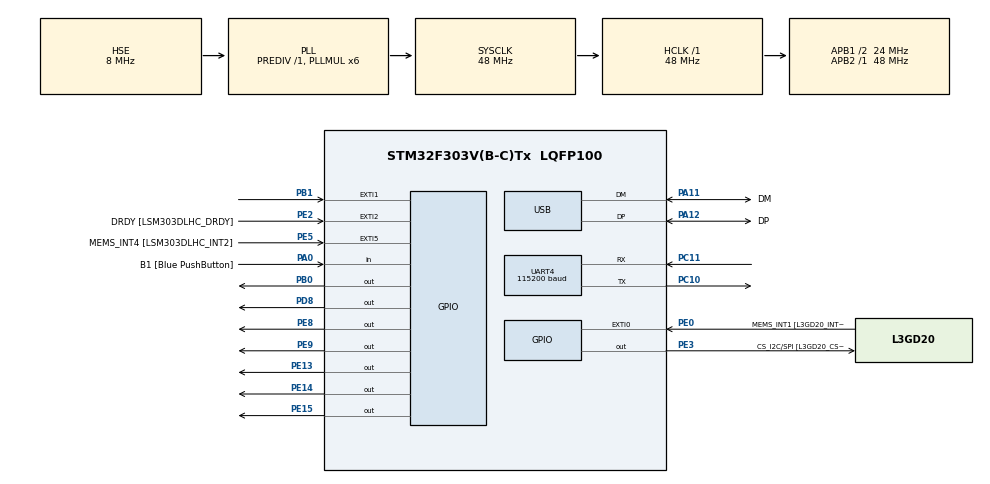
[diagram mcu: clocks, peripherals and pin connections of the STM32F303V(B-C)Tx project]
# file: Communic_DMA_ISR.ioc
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Dma.Request0=UART4_RX
Dma.Request1=UART4_TX
Dma.UART4_RX.0.Direction=DMA_PERIPH_TO_MEMORY
Dma.UART4_RX.0.Instance=DMA2_Channel3
Dma.UART4_RX.0.MemDataAlignment=DMA_MDATAALIGN_BYTE
Dma.UART4_RX.0.MemInc=DMA_MINC_ENABLE
Dma.UART4_RX.0.Mode=DMA_NORMAL
Dma.UART4_RX.0.PeriphDataAlignment=DMA_PDATAALIGN_BYTE
Dma.UART4_RX.0.PeriphInc=DMA_PINC_DISABLE
Dma.UART4_RX.0.Priority=DMA_PRIORITY_HIGH
Dma.UART4_TX.1.Direction=DMA_MEMORY_TO_PERIPH
Dma.UART4_TX.1.Instance=DMA2_Channel5
Dma.UART4_TX.1.MemDataAlignment=DMA_MDATAALIGN_BYTE
Dma.UART4_TX.1.MemInc=DMA_MINC_ENABLE
Dma.UART4_TX.1.Mode=DMA_NORMAL
Dma.UART4_TX.1.PeriphDataAlignment=DMA_PDATAALIGN_BYTE
Dma.UART4_TX.1.PeriphInc=DMA_PINC_DISABLE
Dma.UART4_TX.1.Priority=DMA_PRIORITY_HIGH
Mcu.Family=STM32F3
Mcu.Name=STM32F303V(B-C)Tx
Mcu.Package=LQFP100
NVIC.DMA2_Channel3_IRQn=true\:0\:0\:false\:false\:true\:false\:true\:true
NVIC.DMA2_Channel5_IRQn=true\:0\:0\:false\:false\:true\:false\:true\:true
NVIC.EXTI1_IRQn=true\:0\:0\:false\:false\:true\:true\:true\:true
NVIC.PriorityGroup=NVIC_PRIORITYGROUP_0
NVIC.UART4_IRQn=true\:0\:0\:false\:false\:true\:true\:true\:true
PA0.GPIO_Label=B1 [Blue PushButton]
PA0.Signal=GPIO_Input
PA11.GPIO_Label=DM
PA11.Mode=Device
PA11.Signal=USB_DM
PA12.GPIO_Label=DP
PA12.Mode=Device
PA12.Signal=USB_DP
PA13.GPIO_Label=SWDIO
PA13.Mode=Serial_Wire
PA13.Signal=SYS_JTMS-SWDIO
PA14.GPIO_Label=SWCLK
PA14.Mode=Serial_Wire
PA14.Signal=SYS_JTCK-SWCLK
PA5.GPIO_Label=SPI1_SCK [L3GD20_SCL/SPC]
PA5.Signal=SPI1_SCK
PA6.GPIO_Label=SPI1_MISO [L3GD20_SA0/SDO]
PA6.Signal=SPI1_MISO
PA7.GPIO_Label=SPI1_MISO [L3GD20_SDA/SDI/SDO]
PA7.Signal=SPI1_MOSI
PB0.Signal=GPIO_Output
PB1.Signal=GPXTI1
PB3.GPIO_Label=SWO
PB3.Signal=SYS_JTDO-TRACESWO
PB6.GPIO_Label=I2C1_SCL [LSM303DLHC_SCL]
PB6.GPIO_Pu=GPIO_PULLUP
PB6.Signal=I2C1_SCL
PB7.GPIO_Label=I2C1_SDA [LSM303DLHC_SDA]
PB7.GPIO_Pu=GPIO_PULLUP
PB7.Signal=I2C1_SDA
PC10.Mode=Asynchronous
PC10.Signal=UART4_TX
PC11.Mode=Asynchronous
PC11.Signal=UART4_RX
PC14-OSC32_IN.GPIO_Label=OSC32_IN
PC14-OSC32_IN.Signal=RCC_OSC32_IN
PC15-OSC32_OUT.GPIO_Label=OSC32_OUT
PC15-OSC32_OUT.Signal=RCC_OSC32_OUT
PD8.Signal=GPIO_Output
PE0.GPIO_Label=MEMS_INT1 [L3GD20_INT1]
PE0.GPIO_ModeDefaultEXTI=GPIO_MODE_EVT_RISING
PE0.Signal=GPXTI0
PE13.Signal=GPIO_Output
PE14.Signal=GPIO_Output
PE15.Signal=GPIO_Output
PE2.GPIO_Label=DRDY [LSM303DLHC_DRDY]
PE2.GPIO_ModeDefaultEXTI=GPIO_MODE_EVT_RISING
PE2.Signal=GPXTI2
PE3.GPIO_Label=CS_I2C/SPI [L3GD20_CS_I2C/SPI]
PE3.Signal=GPIO_Output
PE5.GPIO_Label=MEMS_INT4 [LSM303DLHC_INT2]
PE5.GPIO_ModeDefaultEXTI=GPIO_MODE_EVT_RISING
PE5.Signal=GPXTI5
PE8.Signal=GPIO_Output
PE9.Signal=GPIO_Output
PF0-OSC_IN.GPIO_Label=OSC_IN
PF0-OSC_IN.Mode=HSE-External-Clock-Source
PF0-OSC_IN.Signal=RCC_OSC_IN
PF1-OSC_OUT.GPIO_Label=OSC_OUT
PF1-OSC_OUT.Signal=RCC_OSC_OUT
ProjectManager.HeapSize=0x200
ProjectManager.StackSize=0x400
ProjectManager.TargetToolchain=STM32CubeIDE
RCC.AHBFreq_Value=48000000
RCC.APB1CLKDivider=RCC_HCLK_DIV2
RCC.APB1Freq_Value=24000000
RCC.APB1TimFreq_Value=48000000
RCC.APB2Freq_Value=48000000
RCC.APB2TimFreq_Value=48000000
RCC.CortexFreq_Value=48000000
RCC.HCLKFreq_Value=48000000
RCC.HSE_VALUE=8000000
RCC.HSI_VALUE=8000000
RCC.LSE_VALUE=32768
RCC.PLLMUL=RCC_PLL_MUL6
RCC.SYSCLKFreq_VALUE=48000000
RCC.SYSCLKSourceVirtual=RCC_SYSCLKSOURCE_PLLCLK
RCC.USBFreq_Value=48000000
UART4.BaudRate=115200
UART4.OverrunDisableParam=UART_ADVFEATURE_OVERRUN_ENABLE
UART4.WordLength=WORDLENGTH_8B
board=STM32F3DISCOVERY

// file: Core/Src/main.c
/* USER CODE BEGIN Header */
/**
  ******************************************************************************
  * @file           : main.c
  * @brief          : Main program body
  ******************************************************************************
  * @attention
  *
  * Copyright (c) 2025 STMicroelectronics.
  * All rights reserved.
  *
  * This software is licensed under terms that can be found in the LICENSE file
  * in the root directory of this software component.
  * If no LICENSE file comes with this software, it is provided AS-IS.
  *
  ******************************************************************************
  */
/* USER CODE END Header */
#include "main.h"

/* USER CODE BEGIN Includes */
#include "arm_fft.h"

/* USER CODE END Includes */

/* USER CODE BEGIN PD */
#define N_FINESTRE 105
#define N_CAMPIONI 128
#define LED_1 GPIO_PIN_9
#define LED_2 GPIO_PIN_8
#define LED_3 GPIO_PIN_15
#define LED_4 GPIO_PIN_14
#define LED_5 GPIO_PIN_13
#define EMB_LEDS GPIOE
#define COM_PINS GPIOB
#define REQ GPIO_PIN_0
#define ACK GPIO_PIN_1

/* USER CODE END PD */

UART_HandleTypeDef huart4;
DMA_HandleTypeDef hdma_uart4_rx;
DMA_HandleTypeDef hdma_uart4_tx;

PCD_HandleTypeDef hpcd_USB_FS;

void SystemClock_Config(void);
static void MX_GPIO_Init(void);
static void MX_DMA_Init(void);
static void MX_USB_PCD_Init(void);
static void MX_UART4_Init(void);

/* USER CODE BEGIN 0 */
  uint8_t signal[N_CAMPIONI*N_FINESTRE];
  uint8_t metadata[8];
  int32_t massimo = 0x00000000;
  int32_t minimo = 0x00000000;
  uint8_t indici[N_CAMPIONI];
  volatile uint8_t trasmissione_completata = 1;
  volatile uint8_t metadati_ricevuti = 0;
  volatile uint8_t dati_ricevuti = 0;
  volatile uint8_t fine = 0;
  volatile uint8_t finestra_corrente = 0;
  volatile uint8_t finestra_calcolata = 0;
/* USER CODE END 0 */

int main(void)
{

  /* MCU Configuration--------------------------------------------------------*/

  /* Reset of all peripherals, Initializes the Flash interface and the Systick. */
  HAL_Init();

  /* Configure the system clock */
  SystemClock_Config();

  /* Initialize all configured peripherals */
  MX_GPIO_Init();
  MX_DMA_Init();
  MX_USB_PCD_Init();
  MX_UART4_Init();
  /* USER CODE BEGIN 2 */

  // LEGENDA PIN:
  // GPIOC10 -> UART TX
  // GPIOC11 -> UART RX
  // GPIOB0  -> REQ
  // GPIOB1  -> ACK  -> scatena interrupt
  // GPIOE9  -> LED 1 Rosso
  // GPIOE8  -> LED 2 Blue
  // GPIOE15 -> LED 3 Green
  // GPIOE14 -> Led 4 Orange
  // GPIOE13 -> Led 5 Red

  HAL_UART_Receive_DMA(&huart4, metadata, 8);
  while(metadati_ricevuti == 0){
  }
  HAL_UART_Receive_DMA(&huart4, signal, N_FINESTRE*N_CAMPIONI);
  while(dati_ricevuti == 0){
  }

  // calcolo massimo e minimo
  massimo = (int32_t)(metadata[0] | metadata[1]<<8 | metadata[2]<<16 | metadata[3]<<24);
  minimo = (int32_t)(metadata[4] | metadata[5]<<8 | metadata[6]<<16 | metadata[7]<<24);

  for(int i=0; i<N_FINESTRE; i++){
	  HAL_GPIO_WritePin(EMB_LEDS, LED_3, GPIO_PIN_SET); //inizio elaborazione finestra i-esima

	  // CALCOLI FFT
	  Complesso x[N_CAMPIONI];
	  Complesso X[N_CAMPIONI];
	  float magnitude[N_CAMPIONI];
	  for(int j=0; j<N_CAMPIONI; j++){
		  x[j].re = ((float)signal[i*N_CAMPIONI + j]) / 255.0f * (massimo - minimo) + minimo;
		  x[j].im = 0.0f;
	  }
	  arm_fft(x,X,N_CAMPIONI);
	  fft_to_spectrogram(X, magnitude, N_CAMPIONI, -65.0f);	// [0,1]
	  for(int l=0; l<N_CAMPIONI; l++){
		  signal[i*N_CAMPIONI+l] = (uint8_t)(magnitude[l]*255);
	  }
	  finestra_calcolata++;
	  if(trasmissione_completata == 1){
		  HAL_GPIO_WritePin(COM_PINS, REQ, GPIO_PIN_SET); // alzo la richiesta
		  trasmissione_completata = 0;
	  }
	  HAL_GPIO_WritePin(EMB_LEDS, LED_3, GPIO_PIN_RESET); //fine elaborazione finestra i-esima
//	  HAL_Delay(1000);
  }
  fine = 1;

//   DATA READY CAUSA SUL MASTER UN'INTERRUZIONE CHE TRIGGERA IL SEGNALE ACK E FA IN MODO CHE LA COMUNICAZIONE SIA
//   SINCRONA E ORDINATA

  /* USER CODE END 2 */

  /* Infinite loop */
  while (1)
  {

    /* USER CODE BEGIN 3 */
	  HAL_GPIO_WritePin(EMB_LEDS, LED_5, GPIO_PIN_SET);
	  HAL_Delay(100);
	  HAL_GPIO_WritePin(EMB_LEDS, LED_5, GPIO_PIN_RESET);
	  HAL_Delay(100);
  }
  /* USER CODE END 3 */
}

void SystemClock_Config(void)
{
  RCC_OscInitTypeDef RCC_OscInitStruct = {0};
  RCC_ClkInitTypeDef RCC_ClkInitStruct = {0};
  RCC_PeriphCLKInitTypeDef PeriphClkInit = {0};

  /** Initializes the RCC Oscillators according to the specified parameters
  * in the RCC_OscInitTypeDef structure.
  */
  RCC_OscInitStruct.OscillatorType = RCC_OSCILLATORTYPE_HSE;
  RCC_OscInitStruct.HSEState = RCC_HSE_BYPASS;
  RCC_OscInitStruct.HSEPredivValue = RCC_HSE_PREDIV_DIV1;
  RCC_OscInitStruct.HSIState = RCC_HSI_ON;
  RCC_OscInitStruct.PLL.PLLState = RCC_PLL_ON;
  RCC_OscInitStruct.PLL.PLLSource = RCC_PLLSOURCE_HSE;
  RCC_OscInitStruct.PLL.PLLMUL = RCC_PLL_MUL6;
  if (HAL_RCC_OscConfig(&RCC_OscInitStruct) != HAL_OK)
  {
    Error_Handler();
  }

  /** Initializes the CPU, AHB and APB buses clocks
  */
  RCC_ClkInitStruct.ClockType = RCC_CLOCKTYPE_HCLK|RCC_CLOCKTYPE_SYSCLK
                              |RCC_CLOCKTYPE_PCLK1|RCC_CLOCKTYPE_PCLK2;
  RCC_ClkInitStruct.SYSCLKSource = RCC_SYSCLKSOURCE_PLLCLK;
  RCC_ClkInitStruct.AHBCLKDivider = RCC_SYSCLK_DIV1;
  RCC_ClkInitStruct.APB1CLKDivider = RCC_HCLK_DIV2;
  RCC_ClkInitStruct.APB2CLKDivider = RCC_HCLK_DIV1;

  if (HAL_RCC_ClockConfig(&RCC_ClkInitStruct, FLASH_LATENCY_1) != HAL_OK)
  {
    Error_Handler();
  }
  PeriphClkInit.PeriphClockSelection = RCC_PERIPHCLK_USB|RCC_PERIPHCLK_UART4;
  PeriphClkInit.Uart4ClockSelection = RCC_UART4CLKSOURCE_PCLK1;
  PeriphClkInit.USBClockSelection = RCC_USBCLKSOURCE_PLL;
  if (HAL_RCCEx_PeriphCLKConfig(&PeriphClkInit) != HAL_OK)
  {
    Error_Handler();
  }
}

static void MX_UART4_Init(void)
{

  huart4.Instance = UART4;
  huart4.Init.BaudRate = 115200;
  huart4.Init.WordLength = UART_WORDLENGTH_8B;
  huart4.Init.StopBits = UART_STOPBITS_1;
  huart4.Init.Parity = UART_PARITY_NONE;
  huart4.Init.Mode = UART_MODE_TX_RX;
  huart4.Init.HwFlowCtl = UART_HWCONTROL_NONE;
  huart4.Init.OverSampling = UART_OVERSAMPLING_16;
  huart4.Init.OneBitSampling = UART_ONE_BIT_SAMPLE_DISABLE;
  huart4.AdvancedInit.AdvFeatureInit = UART_ADVFEATURE_NO_INIT;
  if (HAL_UART_Init(&huart4) != HAL_OK)
  {
    Error_Handler();
  }

}

static void MX_USB_PCD_Init(void)
{

  hpcd_USB_FS.Instance = USB;
  hpcd_USB_FS.Init.dev_endpoints = 8;
  hpcd_USB_FS.Init.speed = PCD_SPEED_FULL;
  hpcd_USB_FS.Init.phy_itface = PCD_PHY_EMBEDDED;
  hpcd_USB_FS.Init.low_power_enable = DISABLE;
  hpcd_USB_FS.Init.battery_charging_enable = DISABLE;
  if (HAL_PCD_Init(&hpcd_USB_FS) != HAL_OK)
  {
    Error_Handler();
  }

}

static void MX_DMA_Init(void)
{

  /* DMA controller clock enable */
  __HAL_RCC_DMA2_CLK_ENABLE();

  /* DMA interrupt init */
  /* DMA2_Channel3_IRQn interrupt configuration */
  HAL_NVIC_SetPriority(DMA2_Channel3_IRQn, 0, 0);
  HAL_NVIC_EnableIRQ(DMA2_Channel3_IRQn);
  /* DMA2_Channel5_IRQn interrupt configuration */
  HAL_NVIC_SetPriority(DMA2_Channel5_IRQn, 0, 0);
  HAL_NVIC_EnableIRQ(DMA2_Channel5_IRQn);

}

static void MX_GPIO_Init(void)
{
  GPIO_InitTypeDef GPIO_InitStruct = {0};

  /* GPIO Ports Clock Enable */
  __HAL_RCC_GPIOE_CLK_ENABLE();
  __HAL_RCC_GPIOC_CLK_ENABLE();
  __HAL_RCC_GPIOF_CLK_ENABLE();
  __HAL_RCC_GPIOA_CLK_ENABLE();
  __HAL_RCC_GPIOB_CLK_ENABLE();
  __HAL_RCC_GPIOD_CLK_ENABLE();

  /*Configure GPIO pin Output Level */
  HAL_GPIO_WritePin(GPIOE, CS_I2C_SPI_Pin|GPIO_PIN_8|GPIO_PIN_9|GPIO_PIN_13
                          |GPIO_PIN_14|GPIO_PIN_15, GPIO_PIN_RESET);

  /*Configure GPIO pin Output Level */
  HAL_GPIO_WritePin(GPIOB, GPIO_PIN_0, GPIO_PIN_RESET);

  /*Configure GPIO pin Output Level */
  HAL_GPIO_WritePin(GPIOD, GPIO_PIN_8, GPIO_PIN_RESET);

  /*Configure GPIO pins : DRDY_Pin MEMS_INT4_Pin MEMS_INT1_Pin */
  GPIO_InitStruct.Pin = DRDY_Pin|MEMS_INT4_Pin|MEMS_INT1_Pin;
  GPIO_InitStruct.Mode = GPIO_MODE_EVT_RISING;
  GPIO_InitStruct.Pull = GPIO_NOPULL;
  HAL_GPIO_Init(GPIOE, &GPIO_InitStruct);

  /*Configure GPIO pins : CS_I2C_SPI_Pin PE8 PE9 PE13
                           PE14 PE15 */
  GPIO_InitStruct.Pin = CS_I2C_SPI_Pin|GPIO_PIN_8|GPIO_PIN_9|GPIO_PIN_13
                          |GPIO_PIN_14|GPIO_PIN_15;
  GPIO_InitStruct.Mode = GPIO_MODE_OUTPUT_PP;
  GPIO_InitStruct.Pull = GPIO_NOPULL;
  GPIO_InitStruct.Speed = GPIO_SPEED_FREQ_LOW;
  HAL_GPIO_Init(GPIOE, &GPIO_InitStruct);

  /*Configure GPIO pin : B1_Pin */
  GPIO_InitStruct.Pin = B1_Pin;
  GPIO_InitStruct.Mode = GPIO_MODE_INPUT;
  GPIO_InitStruct.Pull = GPIO_NOPULL;
  HAL_GPIO_Init(B1_GPIO_Port, &GPIO_InitStruct);

  /*Configure GPIO pins : SPI1_SCK_Pin SPI1_MISO_Pin SPI1_MISOA7_Pin */
  GPIO_InitStruct.Pin = SPI1_SCK_Pin|SPI1_MISO_Pin|SPI1_MISOA7_Pin;
  GPIO_InitStruct.Mode = GPIO_MODE_AF_PP;
  GPIO_InitStruct.Pull = GPIO_NOPULL;
  GPIO_InitStruct.Speed = GPIO_SPEED_FREQ_HIGH;
  GPIO_InitStruct.Alternate = GPIO_AF5_SPI1;
  HAL_GPIO_Init(GPIOA, &GPIO_InitStruct);

  /*Configure GPIO pin : PB0 */
  GPIO_InitStruct.Pin = GPIO_PIN_0;
  GPIO_InitStruct.Mode = GPIO_MODE_OUTPUT_PP;
  GPIO_InitStruct.Pull = GPIO_NOPULL;
  GPIO_InitStruct.Speed = GPIO_SPEED_FREQ_LOW;
  HAL_GPIO_Init(GPIOB, &GPIO_InitStruct);

  /*Configure GPIO pin : PB1 */
  GPIO_InitStruct.Pin = GPIO_PIN_1;
  GPIO_InitStruct.Mode = GPIO_MODE_IT_RISING;
  GPIO_InitStruct.Pull = GPIO_NOPULL;
  HAL_GPIO_Init(GPIOB, &GPIO_InitStruct);

  /*Configure GPIO pin : PD8 */
  GPIO_InitStruct.Pin = GPIO_PIN_8;
  GPIO_InitStruct.Mode = GPIO_MODE_OUTPUT_PP;
  GPIO_InitStruct.Pull = GPIO_NOPULL;
  GPIO_InitStruct.Speed = GPIO_SPEED_FREQ_LOW;
  HAL_GPIO_Init(GPIOD, &GPIO_InitStruct);

  /*Configure GPIO pins : I2C1_SCL_Pin I2C1_SDA_Pin */
  GPIO_InitStruct.Pin = I2C1_SCL_Pin|I2C1_SDA_Pin;
  GPIO_InitStruct.Mode = GPIO_MODE_AF_OD;
  GPIO_InitStruct.Pull = GPIO_PULLUP;
  GPIO_InitStruct.Speed = GPIO_SPEED_FREQ_HIGH;
  GPIO_InitStruct.Alternate = GPIO_AF4_I2C1;
  HAL_GPIO_Init(GPIOB, &GPIO_InitStruct);

  /* EXTI interrupt init*/
  HAL_NVIC_SetPriority(EXTI1_IRQn, 0, 0);
  HAL_NVIC_EnableIRQ(EXTI1_IRQn);

}

/* USER CODE BEGIN 4 */
void HAL_UART_RxCpltCallback(UART_HandleTypeDef *huart){
	if(metadati_ricevuti == 0){
		metadati_ricevuti = 1;
		HAL_GPIO_WritePin(EMB_LEDS, LED_1, GPIO_PIN_SET);
	}
	else{
		dati_ricevuti = 1;
		HAL_GPIO_WritePin(EMB_LEDS, LED_2, GPIO_PIN_SET);
	    if (HAL_UART_DeInit(huart) != HAL_OK) {
	        Error_Handler();
	    }
	    if (HAL_UART_Init(huart) != HAL_OK) {
	        Error_Handler(); 	    }
	}
}

void HAL_UART_TxCpltCallback(UART_HandleTypeDef *huart){
//	if(finestra_corrente < finestra_calcolata){
//		HAL_GPIO_WritePin(COM_PINS, REQ, GPIO_PIN_SET);
//		stop = 1;
//		HAL_GPIO_TogglePin(EMB_LEDS, LED_4);
//	}else{
//		stop = 0;
//	}
	trasmissione_completata = 1;
	if(fine == 1){
		if(finestra_corrente<finestra_calcolata){
			HAL_GPIO_WritePin(COM_PINS, REQ, GPIO_PIN_SET);
		}
	}
}

void HAL_GPIO_EXTI_Callback(uint16_t GPIO_Pin){
//	if (GPIO_Pin == ACK){
//		HAL_GPIO_WritePin(COM_PINS, REQ, GPIO_PIN_RESET);
//		stop = 0;
//		finestra_corrente++;
//		HAL_UART_Transmit_DMA(&huart4, &signal[(finestra_corrente-1)*N_CAMPIONI], 128);
//	}
	HAL_GPIO_WritePin(COM_PINS, REQ, GPIO_PIN_RESET);
	finestra_corrente++;
	HAL_UART_Transmit_DMA(&huart4, &signal[(finestra_corrente-1)*N_CAMPIONI], 128);
}
/* USER CODE END 4 */

void Error_Handler(void)
{
  __disable_irq();
  while (1)
  {
  }
}
